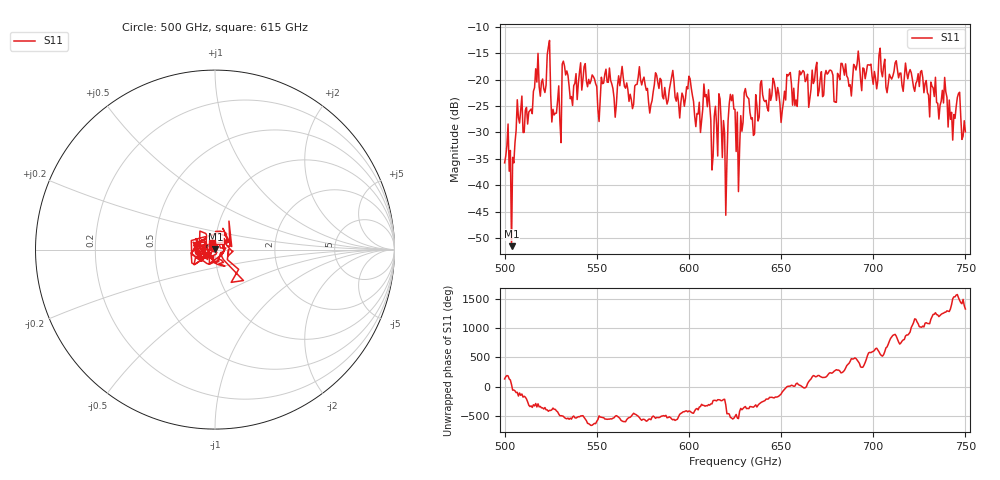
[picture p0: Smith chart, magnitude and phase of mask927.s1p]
!Created with skrf (http://scikit-rf.org).
# GHz S MA R 50.0
!freq magS11 angS11
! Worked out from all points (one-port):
!   401 points, 500 GHz to 750 GHz, reference 50 ohm
!   lowest |S11| = -51.5 dB at 503.8 GHz (marker M1), VSWR 1.01, Z = 50.2 + j0.153 ohm
!   |S11| at or under -10 dB: start of sweep to end of sweep
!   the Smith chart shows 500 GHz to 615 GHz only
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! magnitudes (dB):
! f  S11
! 500 GHz  -35.7
! 503.8 GHz  -51.5
! 508.1 GHz  -28.2
! 513.8 GHz  -25.8
! 516.9 GHz  -18.0
! 523.8 GHz  -13.8
! 526.9 GHz  -26.7
! 531.2 GHz  -17.1
! 532.5 GHz  -17.4
! 550.6 GHz  -25.7
! 562.5 GHz  -21.2
! 593.8 GHz  -22.5
! 609.4 GHz  -22.8
! 612.5 GHz  -37.1
! 617.5 GHz  -27.9
! 619.4 GHz  -30.1
! 622.5 GHz  -22.8
! 625 GHz  -25.6
! 626.9 GHz  -41.2
! 631.2 GHz  -23.0
! 634.4 GHz  -27.2
! 640 GHz  -22.9
! 656.2 GHz  -24.9
! 687.5 GHz  -21.0
! 718.8 GHz  -19.9
! 741.9 GHz  -27.5
! 746.2 GHz  -22.7
! 750 GHz  -29.9
